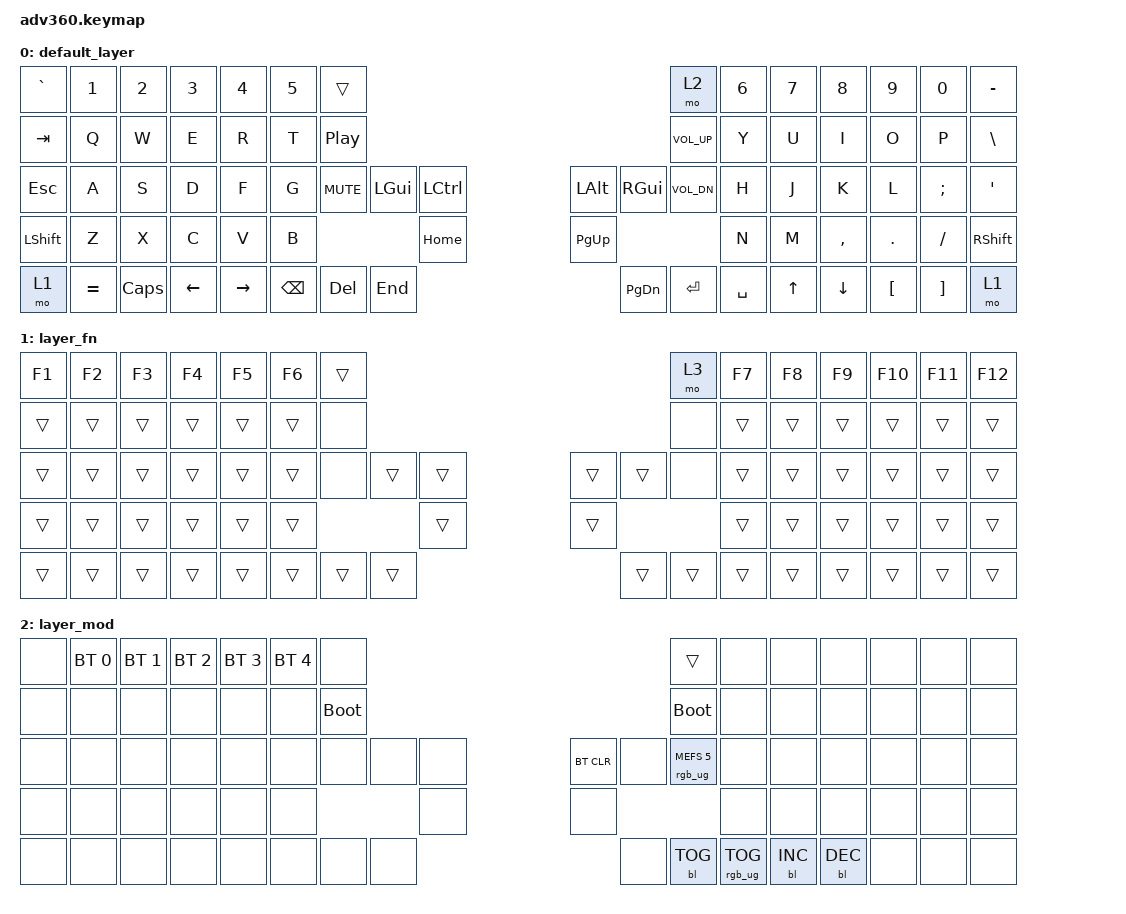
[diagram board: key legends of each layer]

/*
 * Copyright (c) 2020 The ZMK Contributors
 *
 * SPDX-License-Identifier: MIT
 */


/* THIS FILE WAS GENERATED!
 *
 * This file was generated automatically. You may or may not want to
 * edit it directly.
 */

#include <behaviors.dtsi>
#include <dt-bindings/zmk/keys.h>
#include <dt-bindings/zmk/bt.h>
#include <dt-bindings/zmk/rgb.h>
#include <dt-bindings/zmk/backlight.h>

/ {
  behaviors {
    #include "macros.dtsi"
      #include "version.dtsi"
      #ifndef VERSION_MACRO
      macro_ver: macro_ver {
        compatible = "zmk,behavior-macro";
        label = "macro_version";
        #binding-cells = <0>;
        bindings = <&kp RET>;
      };
      #endif

    hm: homerow_mods {
        compatible = "zmk,behavior-hold-tap";
        label = "HOMEROW_MODS";
        #binding-cells = <2>;
        tapping-term-ms = <200>;
        quick_tap_ms = <175>;
        flavor = "tap-preferred";
        bindings = <&kp>, <&kp>;
    };
  };

    keymap {
        compatible = "zmk,keymap";


        default_layer {
            bindings = <
 &kp GRAVE     &kp N1    &kp N2    &kp N3     &kp N4  &kp N5                &trans                                                                    &mo 2  &kp N6  &kp N7     &kp N8    &kp N9    &kp N0  &kp MINUS
   &kp TAB      &kp Q     &kp W     &kp E      &kp R   &kp T              &kp C_PP                                                             &kp C_VOL_UP   &kp Y   &kp U      &kp I     &kp O     &kp P   &kp BSLH
   &kp ESC      &kp A     &kp S     &kp D      &kp F   &kp G            &kp C_MUTE  &kp LGUI  &kp LCTRL                   &kp LALT   &kp RGUI  &kp C_VOL_DN   &kp H   &kp J      &kp K     &kp L  &kp SEMI    &kp SQT
 &kp LSHFT      &kp Z     &kp X     &kp C      &kp V   &kp B                                   &kp HOME                  &kp PG_UP                            &kp N   &kp M  &kp COMMA   &kp DOT  &kp FSLH  &kp RSHFT
     &mo 1  &kp EQUAL  &kp CAPS  &kp LEFT  &kp RIGHT                      &kp BSPC   &kp DEL    &kp END                  &kp PG_DN  &kp ENTER     &kp SPACE          &kp UP   &kp DOWN  &kp LBKT  &kp RBKT      &mo 1
            >;
        };

        layer_fn {
            bindings = <
 &kp F1  &kp F2  &kp F3  &kp F4  &kp F5  &kp F6            &trans                                                   &mo 3  &kp F7  &kp F8  &kp F9  &kp F10  &kp F11  &kp F12
 &trans  &trans  &trans  &trans  &trans  &trans             &none                                                   &none  &trans  &trans  &trans   &trans   &trans   &trans
 &trans  &trans  &trans  &trans  &trans  &trans             &none  &trans  &trans                  &trans  &trans   &none  &trans  &trans  &trans   &trans   &trans   &trans
 &trans  &trans  &trans  &trans  &trans  &trans                            &trans                  &trans                  &trans  &trans  &trans   &trans   &trans   &trans
 &trans  &trans  &trans  &trans  &trans                    &trans  &trans  &trans                  &trans  &trans  &trans          &trans  &trans   &trans   &trans   &trans
            >;
        };

        layer_mod {
            bindings = <
  &none  &bt BT_SEL 0  &bt BT_SEL 1  &bt BT_SEL 2  &bt BT_SEL 3  &bt BT_SEL 4                  &none                                                                          &trans   &none       &none       &none   &none   &none   &none
  &none         &none         &none         &none         &none         &none            &bootloader                                                                     &bootloader   &none       &none       &none   &none   &none   &none
  &none         &none         &none         &none         &none         &none                  &none   &none   &none                  &bt BT_CLR       &none  &rgb_ug RGB_MEFS_CMD 5   &none       &none       &none   &none   &none   &none
  &none         &none         &none         &none         &none         &none                                  &none                       &none                                       &none       &none       &none   &none   &none   &none
  &none         &none         &none         &none         &none                                &none   &none   &none                       &none  &bl BL_TOG         &rgb_ug RGB_TOG          &bl BL_INC  &bl BL_DEC   &none   &none   &none
            >;
        };

    };
};
